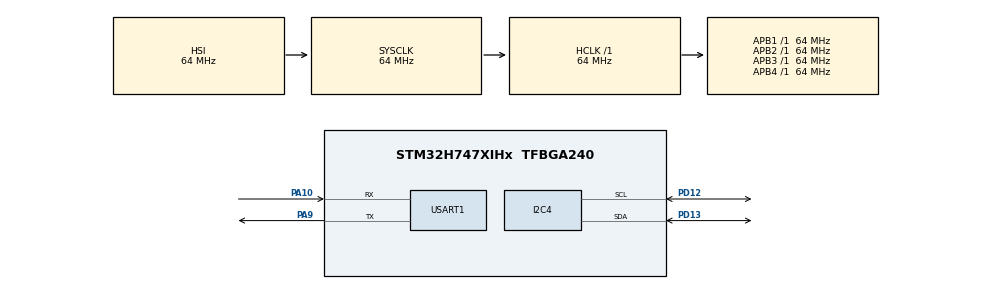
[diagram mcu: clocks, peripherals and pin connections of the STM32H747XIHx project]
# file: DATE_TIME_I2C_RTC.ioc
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CortexM4.IPs=BDMA,DMA,FATFS_M4\:I,FREERTOS_M4\:I,IWDG2\:I,MDMA,NVIC2\:I,RCC,USB_DEVICE_M4\:I,USB_HOST_M4\:I,WWDG2\:I,ADC1\:I,DCMI\:I,TIM3\:I,DEBUG,PDM2PCM_M4\:I,PWR,RESMGR_UTILITY,SYS_M4\:I,CORTEX_M4\:I,OPENAMP_M4\:I,VREFBUF,GPIO
CortexM7.IPs=BDMA\:I,DMA\:I,FATFS_M7\:I,FREERTOS_M7\:I,IWDG1\:I,MDMA\:I,NVIC1\:I,RCC\:I,USB_DEVICE_M7\:I,USB_HOST_M7\:I,WWDG1\:I,CORTEX_M7\:I,DEBUG\:I,PDM2PCM_M7\:I,PWR\:I,RESMGR_UTILITY\:I,SYS\:I,OPENAMP_M7\:I,VREFBUF\:I,GPIO\:I,I2C4\:I,USART1\:I
Mcu.Family=STM32H7
Mcu.Name=STM32H747XIHx
Mcu.Package=TFBGA240
NVIC1.I2C4_ER_IRQn=true\:0\:0\:false\:false\:true\:true\:true\:true
NVIC1.I2C4_EV_IRQn=true\:0\:0\:false\:false\:true\:true\:true\:true
NVIC1.PriorityGroup=NVIC_PRIORITYGROUP_4
NVIC2.PriorityGroup=NVIC_PRIORITYGROUP_4
PA10.Mode=Asynchronous
PA10.PinAttribute=CortexM7
PA10.Signal=USART1_RX
PA9.Mode=Asynchronous
PA9.PinAttribute=CortexM7
PA9.Signal=USART1_TX
PD12.Mode=I2C
PD12.PinAttribute=CortexM7
PD12.Signal=I2C4_SCL
PD13.Mode=I2C
PD13.PinAttribute=CortexM7
PD13.Signal=I2C4_SDA
ProjectManager.HeapSize=M4-0x200,M7-0x200
ProjectManager.StackSize=M4-0x400,M7-0x400
ProjectManager.TargetToolchain=STM32CubeIDE
RCC.ADCFreq_Value=75000000
RCC.APB1Freq_Value=64000000
RCC.APB2Freq_Value=64000000
RCC.APB3Freq_Value=64000000
RCC.APB4Freq_Value=64000000
RCC.CortexFreq_Value=64000000
RCC.DIVM2=4
RCC.DIVN2=9
RCC.HCLKFreq_Value=64000000
RCC.PLL2FRACN=3072
RCC.PWR_Regulator_Voltage_Scale=PWR_REGULATOR_VOLTAGE_SCALE1
RCC.SYSCLKFreq_VALUE=64000000
RCC.SupplySource=PWR_DIRECT_SMPS_SUPPLY
RCC.USBFreq_Value=129000000
USART1.VirtualMode-Asynchronous=VM_ASYNC
VP_SYS_M4_VS_Systick.Mode=SysTick
board=STM32H747I-DISCO

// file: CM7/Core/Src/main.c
/* USER CODE BEGIN Header */
/**
  ******************************************************************************
  * @file           : main.c
  * @brief          : Main program body
  ******************************************************************************
  * @attention
  *
  * Copyright (c) 2024 STMicroelectronics.
  * All rights reserved.
  *
  * This software is licensed under terms that can be found in the LICENSE file
  * in the root directory of this software component.
  * If no LICENSE file comes with this software, it is provided AS-IS.
  *
  ******************************************************************************
  */
/* USER CODE END Header */
#include "main.h"
#include <string.h>
#include <stdio.h>

/* USER CODE BEGIN PD */

#ifndef HSEM_ID_0
#define HSEM_ID_0 (0U) /* HW semaphore 0*/
#endif

/* USER CODE END PD */

/* USER CODE BEGIN PM */
#define DS1307_ADDRESS 0x68 << 1
/* USER CODE END PM */

I2C_HandleTypeDef hi2c4;

UART_HandleTypeDef huart1;

/* USER CODE BEGIN PV */
volatile uint8_t i2c_tx_complete = 0;
volatile uint8_t i2c_rx_complete = 0;
char uart_buffer[50];
/* USER CODE END PV */

void SystemClock_Config(void);
static void MX_GPIO_Init(void);
static void MX_I2C4_Init(void);
static void MX_USART1_UART_Init(void);

/* USER CODE BEGIN 0 */
void Set_Time(uint8_t sec, uint8_t min, uint8_t hour);
void Get_Time(uint8_t *hour, uint8_t *min, uint8_t *sec );
uint8_t DECtoBCD(uint8_t dec);
uint8_t BCDtoDEC(uint8_t bcd);
void Set_Date(uint8_t day, uint8_t month, uint8_t year);
void get_Date(uint8_t *day, uint8_t *month, uint8_t *year);
/* USER CODE END 0 */

int main(void)
{

/* USER CODE BEGIN Boot_Mode_Sequence_0 */
  int32_t timeout;
/* USER CODE END Boot_Mode_Sequence_0 */

/* USER CODE BEGIN Boot_Mode_Sequence_1 */
  /* Wait until CPU2 boots and enters in stop mode or timeout*/
  timeout = 0xFFFF;
  while((__HAL_RCC_GET_FLAG(RCC_FLAG_D2CKRDY) != RESET) && (timeout-- > 0));
  if ( timeout < 0 )
  {
  Error_Handler();
  }
/* USER CODE END Boot_Mode_Sequence_1 */
  /* MCU Configuration--------------------------------------------------------*/

  /* Reset of all peripherals, Initializes the Flash interface and the Systick. */
  HAL_Init();

  /* Configure the system clock */
  SystemClock_Config();
/* USER CODE BEGIN Boot_Mode_Sequence_2 */
/* When system initialization is finished, Cortex-M7 will release Cortex-M4 by means of
HSEM notification */
/*HW semaphore Clock enable*/
__HAL_RCC_HSEM_CLK_ENABLE();
/*Take HSEM */
HAL_HSEM_FastTake(HSEM_ID_0);
/*Release HSEM in order to notify the CPU2(CM4)*/
HAL_HSEM_Release(HSEM_ID_0,0);
/* wait until CPU2 wakes up from stop mode */
timeout = 0xFFFF;
while((__HAL_RCC_GET_FLAG(RCC_FLAG_D2CKRDY) == RESET) && (timeout-- > 0));
if ( timeout < 0 )
{
Error_Handler();
}
/* USER CODE END Boot_Mode_Sequence_2 */

  /* Initialize all configured peripherals */
  MX_GPIO_Init();
  MX_I2C4_Init();
  MX_USART1_UART_Init();
  /* USER CODE BEGIN 2 */
  uint8_t hour, min, sec, day, month, year;
  Set_Time(5,1,2);
  Set_Date(13,12,24);
  /* USER CODE END 2 */

  /* Infinite loop */
  /* USER CODE BEGIN WHILE */
  while (1)
  {
	  static uint32_t last_tick = 0;

	      // Check if 1 second has passed
	      if (HAL_GetTick() - last_tick >= 1000) {
	          last_tick = HAL_GetTick();

	          // Request time and date
	          Get_Time(&hour, &min, &sec);
	          get_Date(&day, &month, &year);

	          // Print time and date
	          snprintf(uart_buffer, sizeof(uart_buffer), "Time: %02d:%02d:%02d\r\n", hour, min, sec);
	          HAL_UART_Transmit(&huart1, (uint8_t *)uart_buffer, strlen(uart_buffer), HAL_MAX_DELAY);

	          snprintf(uart_buffer, sizeof(uart_buffer), "Date: %02d/%02d/%02d\r\n", day, month, year);
	          HAL_UART_Transmit(&huart1, (uint8_t *)uart_buffer, strlen(uart_buffer), HAL_MAX_DELAY);
	      }

    /* USER CODE END WHILE */

  }
}

void SystemClock_Config(void)
{
  RCC_OscInitTypeDef RCC_OscInitStruct = {0};
  RCC_ClkInitTypeDef RCC_ClkInitStruct = {0};

  /** Supply configuration update enable
  */
  HAL_PWREx_ConfigSupply(PWR_DIRECT_SMPS_SUPPLY);

  /** Configure the main internal regulator output voltage
  */
  __HAL_PWR_VOLTAGESCALING_CONFIG(PWR_REGULATOR_VOLTAGE_SCALE1);

  while(!__HAL_PWR_GET_FLAG(PWR_FLAG_VOSRDY)) {}

  /** Initializes the RCC Oscillators according to the specified parameters
  * in the RCC_OscInitTypeDef structure.
  */
  RCC_OscInitStruct.OscillatorType = RCC_OSCILLATORTYPE_HSI;
  RCC_OscInitStruct.HSIState = RCC_HSI_DIV1;
  RCC_OscInitStruct.HSICalibrationValue = RCC_HSICALIBRATION_DEFAULT;
  RCC_OscInitStruct.PLL.PLLState = RCC_PLL_NONE;
  if (HAL_RCC_OscConfig(&RCC_OscInitStruct) != HAL_OK)
  {
    Error_Handler();
  }

  /** Initializes the CPU, AHB and APB buses clocks
  */
  RCC_ClkInitStruct.ClockType = RCC_CLOCKTYPE_HCLK|RCC_CLOCKTYPE_SYSCLK
                              |RCC_CLOCKTYPE_PCLK1|RCC_CLOCKTYPE_PCLK2
                              |RCC_CLOCKTYPE_D3PCLK1|RCC_CLOCKTYPE_D1PCLK1;
  RCC_ClkInitStruct.SYSCLKSource = RCC_SYSCLKSOURCE_HSI;
  RCC_ClkInitStruct.SYSCLKDivider = RCC_SYSCLK_DIV1;
  RCC_ClkInitStruct.AHBCLKDivider = RCC_HCLK_DIV1;
  RCC_ClkInitStruct.APB3CLKDivider = RCC_APB3_DIV1;
  RCC_ClkInitStruct.APB1CLKDivider = RCC_APB1_DIV1;
  RCC_ClkInitStruct.APB2CLKDivider = RCC_APB2_DIV1;
  RCC_ClkInitStruct.APB4CLKDivider = RCC_APB4_DIV1;

  if (HAL_RCC_ClockConfig(&RCC_ClkInitStruct, FLASH_LATENCY_0) != HAL_OK)
  {
    Error_Handler();
  }
}

static void MX_I2C4_Init(void)
{

  hi2c4.Instance = I2C4;
  hi2c4.Init.Timing = 0x10707DBC;
  hi2c4.Init.OwnAddress1 = 0;
  hi2c4.Init.AddressingMode = I2C_ADDRESSINGMODE_7BIT;
  hi2c4.Init.DualAddressMode = I2C_DUALADDRESS_DISABLE;
  hi2c4.Init.OwnAddress2 = 0;
  hi2c4.Init.OwnAddress2Masks = I2C_OA2_NOMASK;
  hi2c4.Init.GeneralCallMode = I2C_GENERALCALL_DISABLE;
  hi2c4.Init.NoStretchMode = I2C_NOSTRETCH_DISABLE;
  if (HAL_I2C_Init(&hi2c4) != HAL_OK)
  {
    Error_Handler();
  }

  /** Configure Analogue filter
  */
  if (HAL_I2CEx_ConfigAnalogFilter(&hi2c4, I2C_ANALOGFILTER_ENABLE) != HAL_OK)
  {
    Error_Handler();
  }

  /** Configure Digital filter
  */
  if (HAL_I2CEx_ConfigDigitalFilter(&hi2c4, 0) != HAL_OK)
  {
    Error_Handler();
  }

}

static void MX_USART1_UART_Init(void)
{

  huart1.Instance = USART1;
  huart1.Init.BaudRate = 115200;
  huart1.Init.WordLength = UART_WORDLENGTH_8B;
  huart1.Init.StopBits = UART_STOPBITS_1;
  huart1.Init.Parity = UART_PARITY_NONE;
  huart1.Init.Mode = UART_MODE_TX_RX;
  huart1.Init.HwFlowCtl = UART_HWCONTROL_NONE;
  huart1.Init.OverSampling = UART_OVERSAMPLING_16;
  huart1.Init.OneBitSampling = UART_ONE_BIT_SAMPLE_DISABLE;
  huart1.Init.ClockPrescaler = UART_PRESCALER_DIV1;
  huart1.AdvancedInit.AdvFeatureInit = UART_ADVFEATURE_NO_INIT;
  if (HAL_UART_Init(&huart1) != HAL_OK)
  {
    Error_Handler();
  }
  if (HAL_UARTEx_SetTxFifoThreshold(&huart1, UART_TXFIFO_THRESHOLD_1_8) != HAL_OK)
  {
    Error_Handler();
  }
  if (HAL_UARTEx_SetRxFifoThreshold(&huart1, UART_RXFIFO_THRESHOLD_1_8) != HAL_OK)
  {
    Error_Handler();
  }
  if (HAL_UARTEx_DisableFifoMode(&huart1) != HAL_OK)
  {
    Error_Handler();
  }

}

static void MX_GPIO_Init(void)
{

  /* GPIO Ports Clock Enable */
  __HAL_RCC_GPIOA_CLK_ENABLE();
  __HAL_RCC_GPIOD_CLK_ENABLE();

}

/* USER CODE BEGIN 4 */
void Set_Time(uint8_t hour, uint8_t min, uint8_t sec) {
    uint8_t data[3];
    data[0] = DECtoBCD(sec);  // Convert to BCD
    data[1] = DECtoBCD(min);  // Convert to BCD
    data[2] = DECtoBCD(hour); // Convert to BCD

    // Start an interrupt-based write
    if (HAL_I2C_Mem_Write_IT(&hi2c4, DS1307_ADDRESS, 0x00, I2C_MEMADD_SIZE_8BIT, data, 3) != HAL_OK) {
        Error_Handler();  // Handle errors
    }

    // Wait until the operation is complete (optional, based on application logic)
    while (HAL_I2C_GetState(&hi2c4) != HAL_I2C_STATE_READY);
}

void Get_Time(uint8_t *hour, uint8_t *min, uint8_t *sec) {
	static uint8_t data[3];

	    // Start an interrupt-based read
	    if (HAL_I2C_Mem_Read_IT(&hi2c4, DS1307_ADDRESS, 0x00, I2C_MEMADD_SIZE_8BIT, data, 3) == HAL_OK) {
	        while (!i2c_rx_complete); // Wait for completion
	        i2c_rx_complete = 0;

	        // Decode data
	        *sec = BCDtoDEC(data[0] & 0x7F);
	        *min = BCDtoDEC(data[1]);
	        *hour = BCDtoDEC(data[2] & 0x3F);
	    }
}

void Set_Date(uint8_t day, uint8_t month, uint8_t year)
{
    static uint8_t data[3];
    data[0] = DECtoBCD(day);   // Day
    data[1] = DECtoBCD(month); // Month
    data[2] = DECtoBCD(year);  // Year

    // Write to date registers (adjust address as needed)
    if (HAL_I2C_Mem_Write_IT(&hi2c4, DS1307_ADDRESS, 0x04, I2C_MEMADD_SIZE_8BIT, data, 3) != HAL_OK) {
        Error_Handler();
    }
}

void get_Date(uint8_t *day, uint8_t *month, uint8_t *year) {
	uint8_t data[3];

	    // Start an interrupt-based read
	    if (HAL_I2C_Mem_Read_IT(&hi2c4, DS1307_ADDRESS, 0x04, I2C_MEMADD_SIZE_8BIT, data, 3) == HAL_OK) {
	        while (!i2c_rx_complete); // Wait for completion
	        i2c_rx_complete = 0;

	        // Decode data
	        *day = BCDtoDEC(data[0]);
	        *month = BCDtoDEC(data[1]);
	        *year = BCDtoDEC(data[2]);
	    }
}

uint8_t DECtoBCD(uint8_t dec) {
    return ((dec / 10 * 16) + (dec % 10));
}

uint8_t BCDtoDEC(uint8_t bcd) {
    return ((bcd / 16 * 10) + (bcd % 16));
}

void HAL_I2C_MemTxCpltCallback(I2C_HandleTypeDef *hi2c)
{
//	if (hi2c->Instance == I2C4) {
//	        // Handle successful write completion
//	        snprintf(uart_buffer, sizeof(uart_buffer), "Write operation completed\r\n");
//	        HAL_UART_Transmit(&huart1, (uint8_t *)uart_buffer, strlen(uart_buffer), HAL_MAX_DELAY);
//	    }
	if (hi2c->Instance == I2C4) {
	        i2c_tx_complete = 1;
	    }
}

void HAL_I2C_MemRxCpltCallback(I2C_HandleTypeDef *hi2c)
{
//	 if (hi2c->Instance == I2C4) {
//	        // Handle successful read completion
//	        snprintf(uart_buffer, sizeof(uart_buffer), "Read operation completed\r\n");
//	        HAL_UART_Transmit(&huart1, (uint8_t *)uart_buffer, strlen(uart_buffer), HAL_MAX_DELAY);
//}
	if (hi2c->Instance == I2C4) {
	        i2c_rx_complete = 1;
	    }
}

/* USER CODE END 4 */

void Error_Handler(void)
{
  __disable_irq();
  while (1)
  {
  }
}
